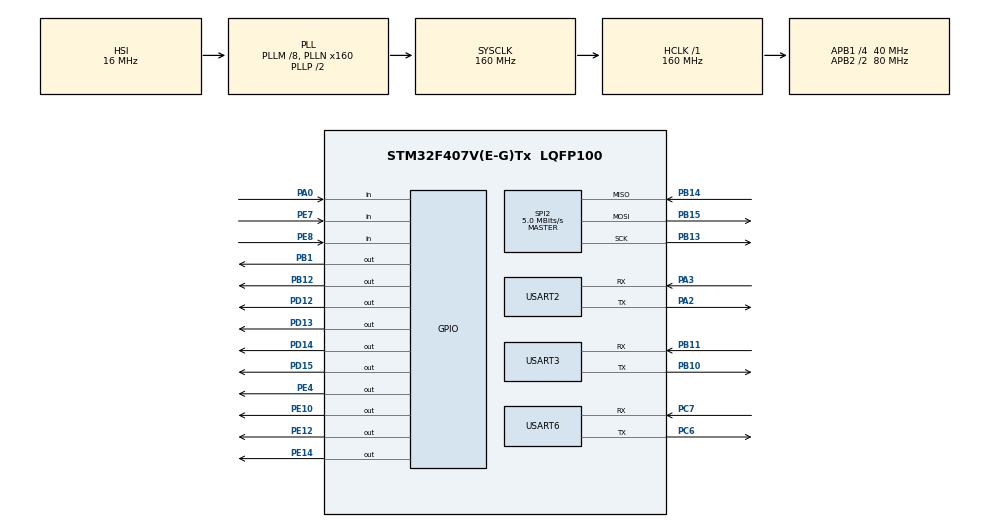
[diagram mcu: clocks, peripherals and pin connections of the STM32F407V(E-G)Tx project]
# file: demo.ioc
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Mcu.Family=STM32F4
Mcu.Name=STM32F407V(E-G)Tx
Mcu.Package=LQFP100
NVIC.PriorityGroup=NVIC_PRIORITYGROUP_4
NVIC.TIM2_IRQn=true\:0\:0\:false\:false\:true\:true\:true
NVIC.USART3_IRQn=true\:0\:0\:false\:false\:true\:true\:true
NVIC.USART6_IRQn=true\:0\:0\:false\:false\:true\:true\:true
PA0-WKUP.GPIO_PuPd=GPIO_PULLDOWN
PA0-WKUP.Signal=GPIO_Input
PA2.Mode=Asynchronous
PA2.Signal=USART2_TX
PA3.Mode=Asynchronous
PA3.Signal=USART2_RX
PB1.Signal=GPIO_Output
PB10.Mode=Asynchronous
PB10.Signal=USART3_TX
PB11.Mode=Asynchronous
PB11.Signal=USART3_RX
PB12.Signal=GPIO_Output
PB13.Mode=Full_Duplex_Master
PB13.Signal=SPI2_SCK
PB14.Mode=Full_Duplex_Master
PB14.Signal=SPI2_MISO
PB15.Mode=Full_Duplex_Master
PB15.Signal=SPI2_MOSI
PC6.Mode=Asynchronous
PC6.Signal=USART6_TX
PC7.Mode=Asynchronous
PC7.Signal=USART6_RX
PD12.Signal=GPIO_Output
PD13.Signal=GPIO_Output
PD14.Signal=GPIO_Output
PD15.Signal=GPIO_Output
PE10.Signal=GPIO_Output
PE12.Signal=GPIO_Output
PE14.Signal=GPIO_Output
PE4.Signal=GPIO_Output
PE7.Signal=GPIO_Input
PE8.Signal=GPIO_Input
ProjectManager.HeapSize=0x200
ProjectManager.StackSize=0x400
ProjectManager.TargetToolchain=MDK-ARM V5
RCC.48MHZClocksFreq_Value=80000000
RCC.AHBFreq_Value=160000000
RCC.APB1CLKDivider=RCC_HCLK_DIV4
RCC.APB1Freq_Value=40000000
RCC.APB1TimFreq_Value=80000000
RCC.APB2CLKDivider=RCC_HCLK_DIV2
RCC.APB2Freq_Value=80000000
RCC.APB2TimFreq_Value=160000000
RCC.CortexFreq_Value=160000000
RCC.HCLKFreq_Value=160000000
RCC.HSE_VALUE=25000000
RCC.HSI_VALUE=16000000
RCC.LSE_VALUE=32768
RCC.PLLM=8
RCC.PLLN=160
RCC.SYSCLKFreq_VALUE=160000000
RCC.SYSCLKSource=RCC_SYSCLKSOURCE_PLLCLK
RCC.VCOOutputFreq_Value=320000000
SPI2.BaudRatePrescaler=SPI_BAUDRATEPRESCALER_8
SPI2.CalculateBaudRate=5.0 MBits/s
SPI2.Direction=SPI_DIRECTION_2LINES
SPI2.FirstBit=SPI_FIRSTBIT_LSB
SPI2.Mode=SPI_MODE_MASTER
SPI2.VirtualType=VM_MASTER
TIM2.AutoReloadPreload=TIM_AUTORELOAD_PRELOAD_ENABLE
TIM2.Period=64000
TIM2.Prescaler=750
USART2.VirtualMode=VM_ASYNC
USART3.VirtualMode=VM_ASYNC
USART6.VirtualMode=VM_ASYNC
VP_TIM2_VS_ClockSourceINT.Mode=Internal
board=custom

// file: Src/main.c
/* USER CODE BEGIN Header */
/**
  ******************************************************************************
  * @file           : main.c
  * @brief          : Main program body
  ******************************************************************************
  * @attention
  *
  * <h2><center>&copy; Copyright (c) 2019 STMicroelectronics.
  * All rights reserved.</center></h2>
  *
  * This software component is licensed by ST under BSD 3-Clause license,
  * the "License"; You may not use this file except in compliance with the
  * License. You may obtain a copy of the License at:
  *                        opensource.org/licenses/BSD-3-Clause
  *
  ******************************************************************************
  */
/* USER CODE END Header */

#include "main.h"

/* USER CODE BEGIN Includes */
#include "AT_command.h"
#include "nrf.h"
#include "gps.h"
/* USER CODE END Includes */

/* USER CODE BEGIN PD */
#define TAILLE_REPONSE 200
/* USER CODE END PD */

SPI_HandleTypeDef hspi2;

TIM_HandleTypeDef htim2;

UART_HandleTypeDef huart2;
UART_HandleTypeDef huart3;
UART_HandleTypeDef huart6;

/* USER CODE BEGIN PV */
AT_command currentAT;
StatusAT statusAT = EN_COURS;
char rxBuffer[1];
static uint8_t valueBluetooth = NRF_DATA_DEFAULT;
uint8_t bool_getVideo = 0;

/* GPS */
char bufGPS[200];
int8_t latitude[12];
int8_t longitude[13];
uint8_t flag_new_data_GPS = 0;
uint8_t flag_reinit_GPS = 0;
/* USER CODE END PV */

void SystemClock_Config(void);
static void MX_GPIO_Init(void);
static void MX_USART2_UART_Init(void);
static void MX_USART3_UART_Init(void);
static void MX_SPI2_Init(void);
static void MX_TIM2_Init(void);
static void MX_USART6_UART_Init(void);

int main(void)
{

  /* MCU Configuration--------------------------------------------------------*/

  /* Reset of all peripherals, Initializes the Flash interface and the Systick. */
  HAL_Init();

  /* Configure the system clock */
  SystemClock_Config();

  /* USER CODE BEGIN SysInit */
	__HAL_RCC_TIM2_CLK_ENABLE();
  /* USER CODE END SysInit */

  /* Initialize all configured peripherals */
  MX_GPIO_Init();
  MX_USART2_UART_Init();
  MX_USART3_UART_Init();
  MX_SPI2_Init();
  MX_TIM2_Init();
  MX_USART6_UART_Init();
  /* USER CODE BEGIN 2 */

	initLARA(&huart3);
	initConnection(&huart3);
	connexion_ftp(&huart3);
	HAL_GPIO_WritePin(GPIOD, GPIO_PIN_12, GPIO_PIN_SET);

	HAL_Delay(500);
	nrf_init_bluetooth();
	HAL_Delay(250);

	HAL_TIM_Base_Start_IT(&htim2);
  /* USER CODE END 2 */

  /* Infinite loop */
  /* USER CODE BEGIN WHILE */
  while (1)
  {
		HAL_GPIO_TogglePin(GPIOD, GPIO_PIN_14);

		if(bool_getVideo){
			getVideo_ftp(&huart3);
			HAL_GPIO_TogglePin(GPIOD, GPIO_PIN_15);
			bool_getVideo = 0;
		}

		if(valueBluetooth != NRF_DATA_DEFAULT){
			nrf_manage_tx(valueBluetooth);
			valueBluetooth = NRF_DATA_DEFAULT;
			HAL_UART_Transmit(&huart2, (uint8_t*)"on vient d'envoyer\n", 19, 10);
			HAL_TIM_Base_Start_IT(&htim2);
		}

		if(flag_new_data_GPS == 1){
			HAL_GPIO_WritePin(GPIOD,GPIO_PIN_15,GPIO_PIN_SET);
			creationFichier(&huart3,latitude,longitude);
			postGPS(&huart3);
			flag_new_data_GPS = 0;
			HAL_GPIO_WritePin(GPIOD,GPIO_PIN_15,GPIO_PIN_RESET);
		}

		if (flag_reinit_GPS){
			HAL_GPIO_WritePin(GPIOD,GPIO_PIN_14,GPIO_PIN_SET);
			initGPS(&huart2);
			HAL_GPIO_WritePin(GPIOD,GPIO_PIN_14,GPIO_PIN_RESET);
		}

		HAL_Delay(100);
    /* USER CODE END WHILE */

  }
}

void SystemClock_Config(void)
{
  RCC_OscInitTypeDef RCC_OscInitStruct = {0};
  RCC_ClkInitTypeDef RCC_ClkInitStruct = {0};

  /** Configure the main internal regulator output voltage
  */
  __HAL_RCC_PWR_CLK_ENABLE();
  __HAL_PWR_VOLTAGESCALING_CONFIG(PWR_REGULATOR_VOLTAGE_SCALE1);
  /** Initializes the CPU, AHB and APB busses clocks
  */
  RCC_OscInitStruct.OscillatorType = RCC_OSCILLATORTYPE_HSI;
  RCC_OscInitStruct.HSIState = RCC_HSI_ON;
  RCC_OscInitStruct.HSICalibrationValue = RCC_HSICALIBRATION_DEFAULT;
  RCC_OscInitStruct.PLL.PLLState = RCC_PLL_ON;
  RCC_OscInitStruct.PLL.PLLSource = RCC_PLLSOURCE_HSI;
  RCC_OscInitStruct.PLL.PLLM = 8;
  RCC_OscInitStruct.PLL.PLLN = 160;
  RCC_OscInitStruct.PLL.PLLP = RCC_PLLP_DIV2;
  RCC_OscInitStruct.PLL.PLLQ = 4;
  if (HAL_RCC_OscConfig(&RCC_OscInitStruct) != HAL_OK)
  {
    Error_Handler();
  }
  /** Initializes the CPU, AHB and APB busses clocks
  */
  RCC_ClkInitStruct.ClockType = RCC_CLOCKTYPE_HCLK|RCC_CLOCKTYPE_SYSCLK
                              |RCC_CLOCKTYPE_PCLK1|RCC_CLOCKTYPE_PCLK2;
  RCC_ClkInitStruct.SYSCLKSource = RCC_SYSCLKSOURCE_PLLCLK;
  RCC_ClkInitStruct.AHBCLKDivider = RCC_SYSCLK_DIV1;
  RCC_ClkInitStruct.APB1CLKDivider = RCC_HCLK_DIV4;
  RCC_ClkInitStruct.APB2CLKDivider = RCC_HCLK_DIV2;

  if (HAL_RCC_ClockConfig(&RCC_ClkInitStruct, FLASH_LATENCY_5) != HAL_OK)
  {
    Error_Handler();
  }
}

static void MX_SPI2_Init(void)
{

  /* SPI2 parameter configuration*/
  hspi2.Instance = SPI2;
  hspi2.Init.Mode = SPI_MODE_MASTER;
  hspi2.Init.Direction = SPI_DIRECTION_2LINES;
  hspi2.Init.DataSize = SPI_DATASIZE_8BIT;
  hspi2.Init.CLKPolarity = SPI_POLARITY_LOW;
  hspi2.Init.CLKPhase = SPI_PHASE_1EDGE;
  hspi2.Init.NSS = SPI_NSS_SOFT;
  hspi2.Init.BaudRatePrescaler = SPI_BAUDRATEPRESCALER_8;
  hspi2.Init.FirstBit = SPI_FIRSTBIT_LSB;
  hspi2.Init.TIMode = SPI_TIMODE_DISABLE;
  hspi2.Init.CRCCalculation = SPI_CRCCALCULATION_DISABLE;
  hspi2.Init.CRCPolynomial = 10;
  if (HAL_SPI_Init(&hspi2) != HAL_OK)
  {
    Error_Handler();
  }

}

static void MX_TIM2_Init(void)
{

  TIM_ClockConfigTypeDef sClockSourceConfig = {0};
  TIM_MasterConfigTypeDef sMasterConfig = {0};

  htim2.Instance = TIM2;
  htim2.Init.Prescaler = 750;
  htim2.Init.CounterMode = TIM_COUNTERMODE_UP;
  htim2.Init.Period = 64000;
  htim2.Init.ClockDivision = TIM_CLOCKDIVISION_DIV1;
  htim2.Init.AutoReloadPreload = TIM_AUTORELOAD_PRELOAD_ENABLE;
  if (HAL_TIM_Base_Init(&htim2) != HAL_OK)
  {
    Error_Handler();
  }
  sClockSourceConfig.ClockSource = TIM_CLOCKSOURCE_INTERNAL;
  if (HAL_TIM_ConfigClockSource(&htim2, &sClockSourceConfig) != HAL_OK)
  {
    Error_Handler();
  }
  sMasterConfig.MasterOutputTrigger = TIM_TRGO_RESET;
  sMasterConfig.MasterSlaveMode = TIM_MASTERSLAVEMODE_DISABLE;
  if (HAL_TIMEx_MasterConfigSynchronization(&htim2, &sMasterConfig) != HAL_OK)
  {
    Error_Handler();
  }

}

static void MX_USART2_UART_Init(void)
{

  huart2.Instance = USART2;
  huart2.Init.BaudRate = 115200;
  huart2.Init.WordLength = UART_WORDLENGTH_8B;
  huart2.Init.StopBits = UART_STOPBITS_1;
  huart2.Init.Parity = UART_PARITY_NONE;
  huart2.Init.Mode = UART_MODE_TX_RX;
  huart2.Init.HwFlowCtl = UART_HWCONTROL_NONE;
  huart2.Init.OverSampling = UART_OVERSAMPLING_16;
  if (HAL_UART_Init(&huart2) != HAL_OK)
  {
    Error_Handler();
  }

}

static void MX_USART3_UART_Init(void)
{

  huart3.Instance = USART3;
  huart3.Init.BaudRate = 115200;
  huart3.Init.WordLength = UART_WORDLENGTH_8B;
  huart3.Init.StopBits = UART_STOPBITS_1;
  huart3.Init.Parity = UART_PARITY_NONE;
  huart3.Init.Mode = UART_MODE_TX_RX;
  huart3.Init.HwFlowCtl = UART_HWCONTROL_NONE;
  huart3.Init.OverSampling = UART_OVERSAMPLING_16;
  if (HAL_UART_Init(&huart3) != HAL_OK)
  {
    Error_Handler();
  }

}

static void MX_USART6_UART_Init(void)
{

  huart6.Instance = USART6;
  huart6.Init.BaudRate = 115200;
  huart6.Init.WordLength = UART_WORDLENGTH_8B;
  huart6.Init.StopBits = UART_STOPBITS_1;
  huart6.Init.Parity = UART_PARITY_NONE;
  huart6.Init.Mode = UART_MODE_TX_RX;
  huart6.Init.HwFlowCtl = UART_HWCONTROL_NONE;
  huart6.Init.OverSampling = UART_OVERSAMPLING_16;
  if (HAL_UART_Init(&huart6) != HAL_OK)
  {
    Error_Handler();
  }

}

static void MX_GPIO_Init(void)
{
  GPIO_InitTypeDef GPIO_InitStruct = {0};

  /* GPIO Ports Clock Enable */
  __HAL_RCC_GPIOE_CLK_ENABLE();
  __HAL_RCC_GPIOA_CLK_ENABLE();
  __HAL_RCC_GPIOB_CLK_ENABLE();
  __HAL_RCC_GPIOD_CLK_ENABLE();
  __HAL_RCC_GPIOC_CLK_ENABLE();

  /*Configure GPIO pin Output Level */
  HAL_GPIO_WritePin(GPIOE, GPIO_PIN_4|GPIO_PIN_10|GPIO_PIN_12|GPIO_PIN_14, GPIO_PIN_RESET);

  /*Configure GPIO pin Output Level */
  HAL_GPIO_WritePin(GPIOB, GPIO_PIN_1|GPIO_PIN_12, GPIO_PIN_RESET);

  /*Configure GPIO pin Output Level */
  HAL_GPIO_WritePin(GPIOD, GPIO_PIN_12|GPIO_PIN_13|GPIO_PIN_14|GPIO_PIN_15, GPIO_PIN_RESET);

  /*Configure GPIO pins : PE4 PE10 PE12 PE14 */
  GPIO_InitStruct.Pin = GPIO_PIN_4|GPIO_PIN_10|GPIO_PIN_12|GPIO_PIN_14;
  GPIO_InitStruct.Mode = GPIO_MODE_OUTPUT_PP;
  GPIO_InitStruct.Pull = GPIO_NOPULL;
  GPIO_InitStruct.Speed = GPIO_SPEED_FREQ_LOW;
  HAL_GPIO_Init(GPIOE, &GPIO_InitStruct);

  /*Configure GPIO pin : PA0 */
  GPIO_InitStruct.Pin = GPIO_PIN_0;
  GPIO_InitStruct.Mode = GPIO_MODE_INPUT;
  GPIO_InitStruct.Pull = GPIO_PULLDOWN;
  HAL_GPIO_Init(GPIOA, &GPIO_InitStruct);

  /*Configure GPIO pins : PB1 PB12 */
  GPIO_InitStruct.Pin = GPIO_PIN_1|GPIO_PIN_12;
  GPIO_InitStruct.Mode = GPIO_MODE_OUTPUT_PP;
  GPIO_InitStruct.Pull = GPIO_NOPULL;
  GPIO_InitStruct.Speed = GPIO_SPEED_FREQ_LOW;
  HAL_GPIO_Init(GPIOB, &GPIO_InitStruct);

  /*Configure GPIO pins : PE7 PE8 */
  GPIO_InitStruct.Pin = GPIO_PIN_7|GPIO_PIN_8;
  GPIO_InitStruct.Mode = GPIO_MODE_INPUT;
  GPIO_InitStruct.Pull = GPIO_NOPULL;
  HAL_GPIO_Init(GPIOE, &GPIO_InitStruct);

  /*Configure GPIO pins : PD12 PD13 PD14 PD15 */
  GPIO_InitStruct.Pin = GPIO_PIN_12|GPIO_PIN_13|GPIO_PIN_14|GPIO_PIN_15;
  GPIO_InitStruct.Mode = GPIO_MODE_OUTPUT_PP;
  GPIO_InitStruct.Pull = GPIO_NOPULL;
  GPIO_InitStruct.Speed = GPIO_SPEED_FREQ_LOW;
  HAL_GPIO_Init(GPIOD, &GPIO_InitStruct);

}

/* USER CODE BEGIN 4 */

void HAL_UART_RxCpltCallback(UART_HandleTypeDef *huart){
	if (huart->Instance == huart6.Instance){
		static char staking[RX_BUFFER_SIZE];
		static unsigned short index = 0;
		volatile char flag_reset_index = 'F';
		char flag_end_responce = 0;

		staking[index] = rxBuffer[0];

		/*test fin des reponses*/
		if (currentAT.type == AT_C_UHTTPC){
			if(staking[index-6] == ':'){
				flag_end_responce = 1;
			}
		}
		else if(currentAT.type == AT_C_UFTPC){
			if(staking[index-1] == ',' && (staking[index] == '1' || staking[index] == '0'))
				flag_end_responce = 1;
		}

		else if(currentAT.type == AT_C_UDWNFILE){
				if (staking[index] == '>')
					flag_end_responce = 1;
		}
		else if((staking[index] == 'K' && staking[index-1] == 'O') || (staking[index] == 'R' && staking[index-1] == 'O'))
			flag_end_responce = 1;
		/*-------*/

		if (flag_end_responce){
			/*Actions grâce aux réponses*/
			flag_end_responce = 0;
			static char reponses[5][TAILLE_REPONSE];
			/* Reset de reponse*/
			for(short index_tab = 0; index_tab < 5; index_tab++){ //memset ?
				for(short new_index = 0; new_index < TAILLE_REPONSE ; new_index++){
					reponses[index_tab][new_index] = 0x00;
				}
			}
			//volatile unsigned int nb_reponse = currentAT.nombre_reponses;

			/* récupération des réponses dans des buffers spécifiques */
			uint8_t cptBuffer=0, cpt = 0;
			for(unsigned short i=0 ; i<index+1 ; i++){
				if(staking[i] == '\r' || staking[i] == '\n' || staking[i] == '\0' || staking[i] == 0x0D){
					if(cpt != 0){
						reponses[cptBuffer][cpt+1] = '\0';
						cptBuffer+=1;
						cpt = 0;
					}
				}
				else{
					reponses[cptBuffer][cpt] = staking[i];
					cpt+=1;
				}
			}
		 /* ---	---	---	---	---	---	---	---		---	---		---	---	*/

			/* Affichage des réponses */
			for(short i = 0; i < currentAT.nombre_reponses; i++){
					HAL_UART_Transmit(&huart2,(uint8_t*) reponses[i],sizeTabChar(reponses[i]),200);
					uartEndLine(&huart2);
			}
			uartEndLine(&huart2);

			/* Verification des réponses pour chaque type de commande */
			if (currentAT.type == AT_OE || currentAT.type == AT_OE_RI){
				if (tabsEquals(reponses[1],"OK\0"))
					statusAT = OK;
				else
					statusAT = FAILED;
			}
			else if (currentAT.type == AT_RI_OE){
				if(tabsEquals(reponses[2], "OK\0"))
					statusAT = OK;
				else
					statusAT = FAILED;
			}
			else if (currentAT.type == AT_C_CPIN){
				if (tabsEquals(reponses[1], "+CPIN: READY\0"))
					statusAT = OK;
				else
					statusAT = FAILED;
			}
			else if(currentAT.type == AT_C_COPS || currentAT.type == AT_RI){
				statusAT = OK;
			}
			else if(currentAT.type == AT_C_UHTTPC){
				if (reponses[2][15] == '1')
					statusAT = OK;
				else
					statusAT = FAILED;
			}
			else if (currentAT.type ==  RI_AT_C_UHTTPC){
				if (reponses[3][15] == '1')
					statusAT = OK;
				else
					statusAT = FAILED;
			}
			else if (currentAT.type == AT_C_UDWNFILE){
				statusAT = OK;

				/* On fait ça de manière à reset le buffer qui va contenir le ok de UDWNFILE */
				currentAT.type = AT_RI;
			}
			else if(currentAT.type == AT_C_UFTPC){
				if (reponses[2][12] == '1')
					statusAT = OK;
				else
					statusAT = FAILED;
			}
			else if(currentAT.type == AT_C_URDFILE){
				if(tabsEquals(reponses[2], "OK")){
					statusAT = OK;
					static uint8_t old_value = 0;
					uint8_t value = reponses[1][28] - 48;
					if(value != old_value){
						valueBluetooth = value;
						old_value = value;
						//HAL_UART_Transmit(&huart2, (uint8_t*)"On va envoyer\n",14,1);
					}
				}
				else
					statusAT = FAILED;
			}
			/* Reset des buffers*/
			for(short index_tab = 0; index_tab < RX_BUFFER_SIZE; index_tab++) //memset ?
				staking[index_tab] = 0x00;
			flag_reset_index = 'T';
			/* - - - - - - - - */
		}

		if (flag_reset_index == 'T'){
			flag_reset_index = 'F';
			index = 0;
		}
		else
			index++;

		rxBuffer[0] = 0x00;
	}

	HAL_UART_Receive_IT(huart, (uint8_t *)rxBuffer, 1);

	if(huart->Instance == huart3.Instance){

		static uint8_t premierPost = 0;
		static uint8_t gpsFail = 0;

		static char trameGlobale[150];

		static unsigned char index=0;

		trameGlobale[index]=bufGPS[0];
		index++;

		if((trameGlobale[index-2]=='\r') && (trameGlobale[index-1]=='\n'))
		{
			if(strstr((const char*)trameGlobale,"$GPRMC") && flag_new_data_GPS == 0 && flag_reinit_GPS == 0)
				parse_trame(&huart2, trameGlobale, (char*)latitude, (char*)longitude, &premierPost, &gpsFail);
		}
	}
}

void HAL_TIM_PeriodElapsedCallback(TIM_HandleTypeDef *htim)
{
  /* Prevent unused argument(s) compilation warning */
  UNUSED(htim);

	bool_getVideo = 1;

}
/* USER CODE END 4 */

void Error_Handler(void)
{
  /* USER CODE BEGIN Error_Handler_Debug */
  /* User can add his own implementation to report the HAL error return state */
	HAL_GPIO_WritePin(GPIOD, GPIO_PIN_15, GPIO_PIN_SET);
  /* USER CODE END Error_Handler_Debug */
}

/************************ (C) COPYRIGHT STMicroelectronics *****END OF FILE****/
